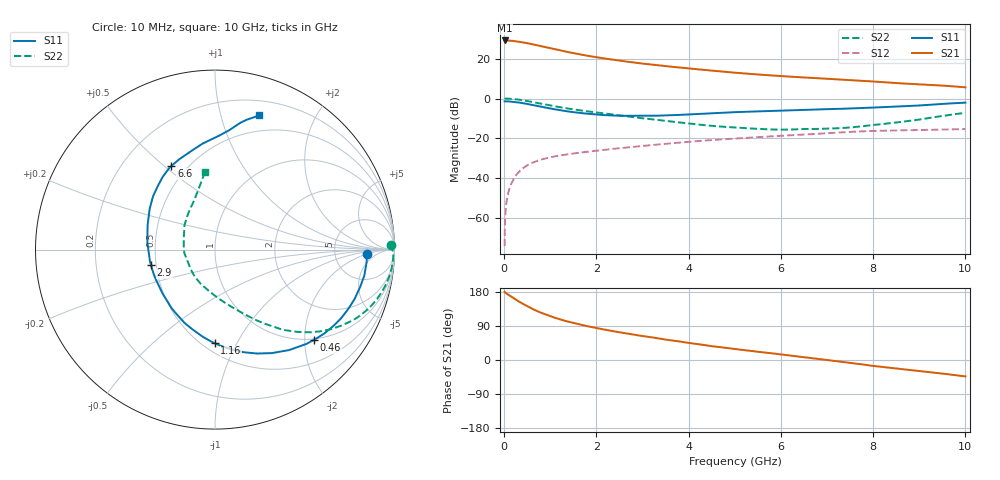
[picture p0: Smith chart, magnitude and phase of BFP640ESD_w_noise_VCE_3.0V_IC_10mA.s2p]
! Infineon Technologies  Discrete & RF Semiconductors
! BFP640ESD
! VCE =  3.0 V,  IC =  10 mA
! Common Emitter S-Parameters:  Jan 2016
# GHz  S  MA  R  50
!  f  S11  S21  S12  S22
! GHz  MAG  ANG  MAG  ANG  MAG  ANG  MAG  ANG
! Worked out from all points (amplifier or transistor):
!   233 points, 10 MHz to 10 GHz, reference 50 ohm
!   highest |S21| = 29.1 dB at 10 MHz (marker M1)
!   |S21| within 3 dB of that: start of sweep to 823.5 MHz
!   unconditionally stable (mu >= 1): 4.123 GHz to 8.864 GHz
!   at 200 MHz: K = 0.11, MSG = 34.7 dB, |S12| = -40.5 dB
!   at 1.74 GHz: K = 0.70, MSG = 24.3 dB, |S12| = -26.9 dB
!   at 10 GHz: K = 0.87, MSG = 10.5 dB, |S12| = -15.3 dB
!   lowest NFmin = 0.68 dB at 450 MHz
!   S11 on the Smith chart (normalised r, x): 10 MHz: 12, -2; 460 MHz: 0.97, -2.21; 1.16 GHz: 0.57, -0.82; 2.9 GHz: 0.47, -0.09; 6.6 GHz: 0.41, +0.53; 10 GHz: 0.34, +1.33
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0.01  0.85 -1.8  28.44 179.8  0.0002 156.9  0.9785 1.6
0.02  0.8473 -2.0  28.28 178.4  0.001 94.1  0.9941 -0.9
0.06  0.8465 -5.7  28.14 174.7  0.0031 84.3  0.993 -3.5
0.15  0.8349 -14.5  27.95 167.7  0.0071 81.3  0.9818 -8.9
0.26  0.8103 -24.8  27.06 158.9  0.0121 76.5  0.9548 -15.0
0.34  0.7871 -32.2  26.31 153.0  0.0153 73.1  0.9284 -19.3
0.46  0.7461 -42.4  24.85 144.5  0.0198 68.2  0.8822 -25.1
0.6  0.6955 -53.6  23.02 135.5  0.0242 63.5  0.8231 -30.9
0.7  0.6586 -61.1  21.73 129.9  0.027 60.7  0.7824 -34.6
0.9  0.593 -74.6  19.26 119.9  0.0316 56.4  0.7061 -40.7
1.16  0.5212 -90.2  16.51 109.2  0.0365 52.7  0.6206 -47.0
1.4  0.4707 -103.2  14.41 100.7  0.0403 50.4  0.5563 -51.6
1.68  0.4296 -116.6  12.53 92.5  0.0445 48.7  0.4989 -56.0
2.2  0.3827 -139.0  9.956 79.6  0.0522 46.6  0.4173 -63.2
2.9  0.3669 -166.2  7.738 65.2  0.0633 43.9  0.3302 -74.1
3.4  0.374 177.4  6.659 56.0  0.0717 41.5  0.2842 -83.1
4.5  0.4288 148.1  4.998 36.5  0.0911 34.5  0.2067 -112.5
5.1  0.4584 138.0  4.339 27.6  0.101 30.2  0.1849 -129.6
6.6  0.5253 117.5  3.311 5.9  0.128 18.9  0.1722 -176.9
6.8  0.5323 114.6  3.211 3.0  0.132 17.1  0.1732 177.8
8.4  0.6198 90.7  2.479 -21.1  0.1577 0.3  0.243 129.4
10  0.7874 71.7  1.907 -43.4  0.1715 -14.6  0.438 97.3
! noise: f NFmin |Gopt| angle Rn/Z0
0.45  0.68  0.19  6  0.11
0.9  0.7  0.18  20  0.1
1.9  0.72  0.13  35  0.1
2.4  0.75  0.09  56  0.1
5.5  1.03  0.31  -133  0.1
10  1.78  0.59  -80  0.7
